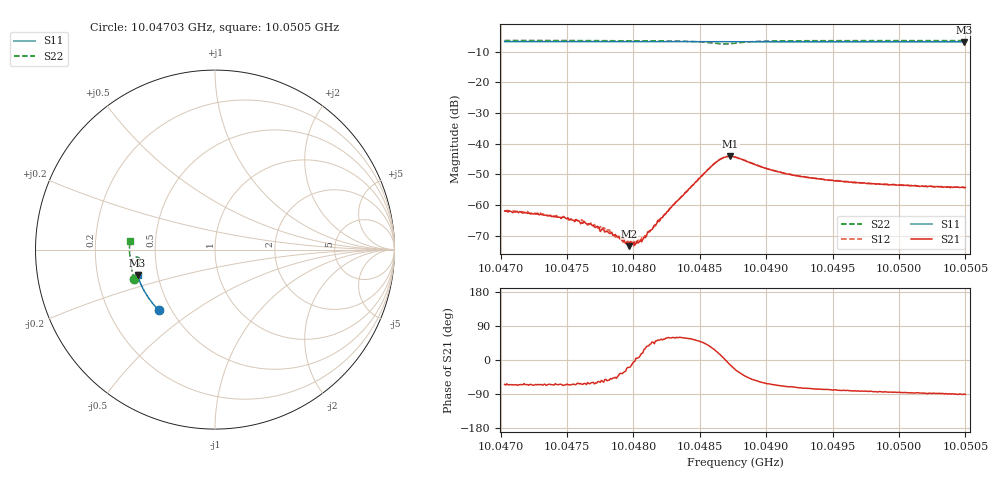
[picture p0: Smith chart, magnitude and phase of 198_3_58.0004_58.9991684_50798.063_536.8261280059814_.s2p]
#  HZ  S  RI  R  50.00
! Rohde & Schwarz Vector Network Analyzer
! Rohde-Schwarz,ZNB20-2Port,1311601062101988,3.16
! Created: UTC 3/21/2024, 12:59:08 AM
! freq[Hz]  re:S11  im:S11  re:S21  im:S21  re:S12  im:S12  re:S22  im:S22
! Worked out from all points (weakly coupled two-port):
!   401 points, 10.04703 GHz to 10.0505 GHz, reference 50 ohm
!   highest |S21| = -44.13 dB at 10.04873 GHz (marker M1); lowest = -73.3 dB at 10.04797 GHz (marker M2)
!   lowest |S11| = -6.9 dB at 10.05049 GHz (marker M3), VSWR 2.66, Z = 19.2 - j6.93 ohm
!   |S11| at or under -10 dB: nowhere
!   |S22| runs from -7.5 to -6.4 dB; largest |S21 - S12| = 0.00045
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1.004703e10  -0.3142 -0.3367  0.000347 -0.000723  0.0004 -0.000708  -0.4496 -0.166
1.004749e10  -0.3351 -0.3146  0.000249 -0.000558  0.000336 -0.000536  -0.4588 -0.1354
1.0047611e10  -0.3405 -0.3086  0.000228 -0.000467  0.00027 -0.000513  -0.4608 -0.1269
1.0047681e10  -0.3434 -0.3049  0.000245 -0.000432  0.000268 -0.000436  -0.4618 -0.1219
1.0047768e10  -0.347 -0.3004  0.000224 -0.000337  0.000247 -0.000322  -0.4631 -0.1157
1.004782e10  -0.3491 -0.2977  0.000208 -0.000275  0.000247 -0.000307  -0.4637 -0.1116
1.0047863e10  -0.351 -0.2953  0.000232 -0.000238  0.000234 -0.000193  -0.4643 -0.1084
1.004795e10  -0.3545 -0.2908  0.000233 -9.45e-05  0.000222 -0.00012  -0.4652 -0.1017
1.0047967e10  -0.3551 -0.2901  0.000204 -7.19e-05  0.000234 -7.23e-05  -0.4653 -0.1002
1.004801e10  -0.3569 -0.2877  0.000221 -1.49e-05  0.000259 4.89e-06  -0.4656 -0.0967
1.0048054e10  -0.3586 -0.2854  0.000259 6.33e-05  0.000241 9.37e-05  -0.4661 -0.093
1.0048141e10  -0.3622 -0.2809  0.000271 0.000297  0.000297 0.000289  -0.4662 -0.0857
1.0048193e10  -0.3641 -0.2781  0.000327 0.000425  0.000323 0.00048  -0.4661 -0.0808
1.00486e10  -0.3788 -0.2555  0.00392 0.00226  0.00379 0.0025  -0.432 -0.042
1.0048661e10  -0.3808 -0.2524  0.00557 0.0011  0.00555 0.00143  -0.4183 -0.0518
1.0048731e10  -0.3831 -0.2487  0.00605 -0.00145  0.00615 -0.00107  -0.4182 -0.0725
1.0048765e10  -0.3843 -0.2468  0.0055 -0.00251  0.00568 -0.00218  -0.4249 -0.0798
1.004906e10  -0.3944 -0.2301  0.00151 -0.00328  0.00171 -0.00323  -0.4663 -0.0626
1.0049346e10  -0.4032 -0.2133  0.000679 -0.00266  0.000856 -0.00263  -0.4739 -0.0365
1.0049928e10  -0.4189 -0.1784  0.000187 -0.00214  0.00032 -0.00215  -0.4765 0.00716
1.0050492e10  -0.431 -0.1434  4.8e-06 -0.00192  9.4e-05 -0.00192  -0.4743 0.0462
1.00505e10  -0.4314 -0.1428  -2.56e-05 -0.00194  0.000107 -0.00191  -0.4742 0.0468
